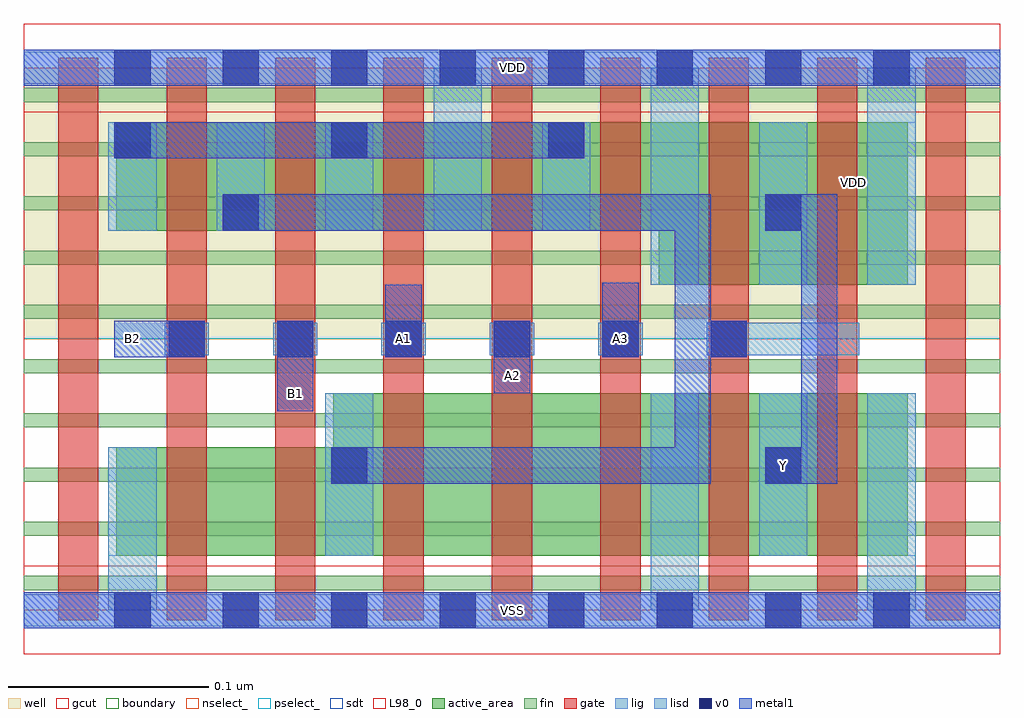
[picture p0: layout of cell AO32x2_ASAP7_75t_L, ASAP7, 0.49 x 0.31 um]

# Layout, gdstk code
import gdstk
lib = gdstk.Library(unit=1e-6, precision=2.5e-10)
def R(c, l, rs):  # rectangles x0, y0, x1, y1
    for r in rs: c.add(gdstk.rectangle(r[:2], r[2:], *l))
def A(c, l, x, y, w, h, nx, ny, dx, dy):  # array of equal rectangles
    R(c, l, [(x+i*dx, y+j*dy, x+i*dx+w, y+j*dy+h) for i in range(nx) for j in range(ny)])
def P(c, l, *ps):  # polygons
    for p in ps: c.add(gdstk.Polygon(p, *l))
well = (1, 0)
fin = (2, 0)
gate = (7, 0)
gcut = (10, 0)
active_area = (11, 0)
nselect_ = (12, 0)
pselect_ = (13, 0)
lig = (16, 0)
lisd = (17, 0)
v0 = (18, 0)
metal1 = (19, 0)
sdt = (88, 0)
L98_0 = (98, 0)
boundary = (100, 0)

ao32x2_asap7_75t_l = lib.new_cell('AO32x2_ASAP7_75t_L')
R(ao32x2_asap7_75t_l, well, [(0,0.135,0.486,0.27)])
A(ao32x2_asap7_75t_l, fin, 0, 0.01, 0.486, 0.007, 1, 10, 0, 0.027)
A(ao32x2_asap7_75t_l, gate, 0.017, -0.005, 0.02, 0.28, 9, 1, 0.054, 0)
R(ao32x2_asap7_75t_l, gcut, [(0,-0.022,0.486,0.022), (0,0.248,0.486,0.292)])
P(ao32x2_asap7_75t_l, active_area, [(0.046,0.027),(0.046,0.081),(0.154,0.081),(0.154,0.108),(0.44,0.108),(0.44,0.027)],
  [(0.316,0.162),(0.316,0.189),(0.046,0.189),(0.046,0.243),(0.44,0.243),(0.44,0.162)])
R(ao32x2_asap7_75t_l, nselect_, [(0,0,0.486,0.135)])
R(ao32x2_asap7_75t_l, pselect_, [(0,0.135,0.486,0.27)])
A(ao32x2_asap7_75t_l, lig, 0.07, 0.127, 0.022, 0.016, 5, 1, 0.054, 0)
R(ao32x2_asap7_75t_l, lig, [(0,-0.008,0.486,0.008), (0.34,0.127,0.416,0.143), (0,0.262,0.486,0.278)])
A(ao32x2_asap7_75t_l, lisd, 0.042, 0.189, 0.024, 0.054, 3, 1, 0.054, 0)
R(ao32x2_asap7_75t_l, lisd, [(0.042,0,0.066,0.081), (0.312,0,0.336,0.108), (0.42,0,0.444,0.108), (0.15,0.027,0.174,0.108), (0.366,0.027,0.39,0.108), (0.312,0.162,0.336,0.27), (0.366,0.162,0.39,0.243), (0.42,0.162,0.444,0.27), (0.204,0.189,0.228,0.27), (0.258,0.189,0.282,0.243)])
A(ao32x2_asap7_75t_l, v0, 0.045, -0.009, 0.018, 0.018, 8, 2, 0.054, 0.27)
A(ao32x2_asap7_75t_l, v0, 0.072, 0.126, 0.018, 0.018, 6, 1, 0.054, 0)
A(ao32x2_asap7_75t_l, v0, 0.045, 0.225, 0.018, 0.018, 3, 1, 0.108, 0)
R(ao32x2_asap7_75t_l, v0, [(0.153,0.063,0.171,0.081), (0.369,0.063,0.387,0.081), (0.099,0.189,0.117,0.207), (0.369,0.189,0.387,0.207)])
R(ao32x2_asap7_75t_l, metal1, [(0,-0.009,0.486,0.009), (0.126,0.099,0.144,0.144), (0.234,0.108,0.252,0.144), (0.045,0.126,0.09,0.144), (0.18,0.126,0.198,0.162), (0.288,0.126,0.306,0.163), (0.045,0.225,0.279,0.243), (0,0.261,0.486,0.279)])
P(ao32x2_asap7_75t_l, metal1, [(0.369,0.063),(0.369,0.081),(0.387,0.081),(0.387,0.189),(0.369,0.189),(0.369,0.207),(0.405,0.207),(0.405,0.063)],
  [(0.153,0.063),(0.153,0.081),(0.324,0.081),(0.324,0.189),(0.099,0.189),(0.099,0.207),(0.342,0.207),(0.342,0.144),(0.36,0.144),(0.36,0.126),(0.342,0.126),(0.342,0.063)])
A(ao32x2_asap7_75t_l, sdt, 0.312, 0.027, 0.024, 0.081, 3, 2, 0.054, 0.135)
A(ao32x2_asap7_75t_l, sdt, 0.042, 0.189, 0.024, 0.054, 5, 1, 0.054, 0)
R(ao32x2_asap7_75t_l, sdt, [(0.042,0.027,0.066,0.081), (0.15,0.027,0.174,0.108)])
R(ao32x2_asap7_75t_l, L98_0, [(0,0,0.486,0.27)])
R(ao32x2_asap7_75t_l, boundary, [(0,0,0.486,0.27)])
ao32x2_asap7_75t_l.add(gdstk.Label('Y', (0.378,0.072), layer=19, texttype=251))
ao32x2_asap7_75t_l.add(gdstk.Label('B2', (0.054,0.135), layer=19, texttype=251))
ao32x2_asap7_75t_l.add(gdstk.Label('B1', (0.135,0.108), layer=19, texttype=251))
ao32x2_asap7_75t_l.add(gdstk.Label('A3', (0.297,0.135), layer=19, texttype=251))
ao32x2_asap7_75t_l.add(gdstk.Label('A2', (0.243,0.117), layer=19, texttype=251))
ao32x2_asap7_75t_l.add(gdstk.Label('A1', (0.189,0.135), layer=19, texttype=251))
ao32x2_asap7_75t_l.add(gdstk.Label('VSS', (0.243,0), layer=19, texttype=251))
ao32x2_asap7_75t_l.add(gdstk.Label('VDD', (0.243,0.27), layer=19, texttype=251))
ao32x2_asap7_75t_l.add(gdstk.Label('VDD', (0.413,0.213), layer=1, texttype=251))
ao32x2_asap7_75t_l.add(gdstk.Label('VSS', (0.559,0.213), layer=3, texttype=251))

lib.write_gds('AO32x2_ASAP7_75t_L.gds')
